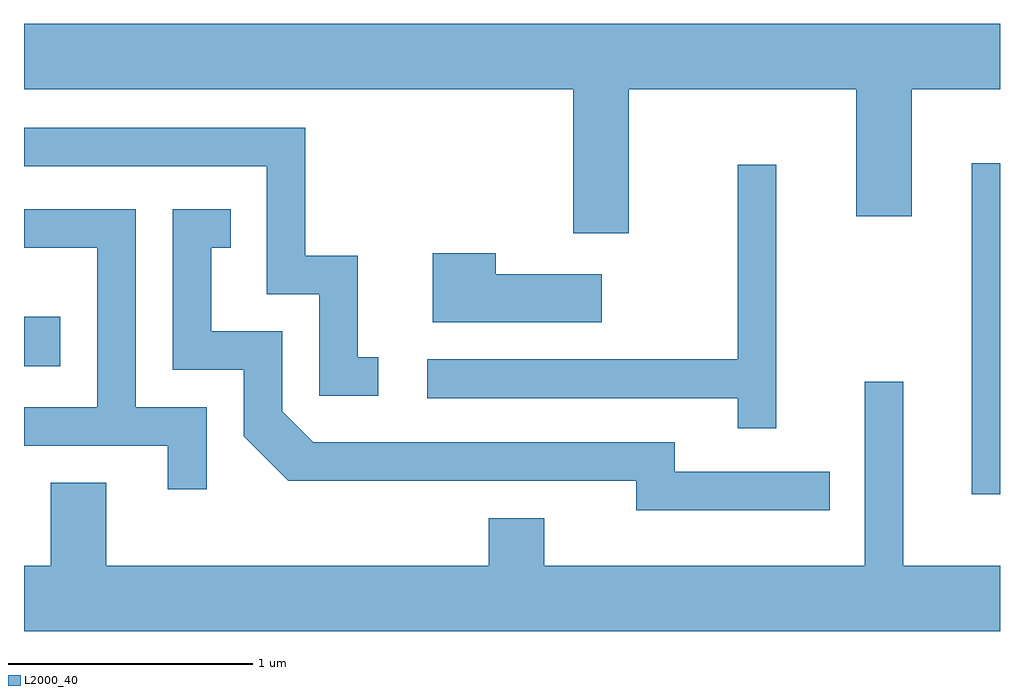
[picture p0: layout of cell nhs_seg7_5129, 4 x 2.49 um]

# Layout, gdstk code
import gdstk
lib = gdstk.Library(unit=1e-6, precision=1e-09)
def R(c, l, rs):  # rectangles x0, y0, x1, y1
    for r in rs: c.add(gdstk.rectangle(r[:2], r[2:], *l))
def P(c, l, *ps):  # polygons
    for p in ps: c.add(gdstk.Polygon(p, *l))
L2000_40 = (2000, 40)

nhs_seg7_5129 = lib.new_cell('nhs_seg7_5129')
R(nhs_seg7_5129, L2000_40, [(345.496,1759.276,345.611,1760.634), (341.611,1759.801,341.759,1760.004)])
P(nhs_seg7_5129, L2000_40, [(344.089,1760.936),(345.021,1760.936),(345.021,1760.416),(345.249,1760.416),(345.249,1760.936),(345.611,1760.936),(345.611,1761.204),(341.611,1761.204),(341.611,1760.936),(343.861,1760.936),(343.861,1760.346),(344.089,1760.346)],
  [(343.063,1759.839),(342.979,1759.839),(342.979,1760.254),(342.764,1760.254),(342.764,1760.779),(341.611,1760.779),(341.611,1760.621),(342.606,1760.621),(342.606,1760.096),(342.821,1760.096),(342.821,1759.681),(343.063,1759.681)],
  [(344.694,1760.628),(344.536,1760.628),(344.536,1759.829),(343.263,1759.829),(343.263,1759.671),(344.536,1759.671),(344.536,1759.548),(344.694,1759.548)],
  [(344.913,1759.369),(344.279,1759.369),(344.279,1759.489),(342.797,1759.489),(342.669,1759.617),(342.669,1759.944),(342.379,1759.944),(342.379,1760.286),(342.458,1760.286),(342.458,1760.444),(342.221,1760.444),(342.221,1759.786),(342.511,1759.786),(342.511,1759.514),(342.694,1759.331),(344.121,1759.331),(344.121,1759.211),(344.913,1759.211)],
  [(342.359,1759.634),(342.069,1759.634),(342.069,1760.444),(341.611,1760.444),(341.611,1760.286),(341.911,1760.286),(341.911,1759.634),(341.611,1759.634),(341.611,1759.476),(342.201,1759.476),(342.201,1759.298),(342.359,1759.298)],
  [(343.979,1760.179),(343.544,1760.179),(343.544,1760.264),(343.286,1760.264),(343.286,1759.981),(343.979,1759.981)],
  [(345.611,1758.984),(345.214,1758.984),(345.214,1759.738),(345.056,1759.738),(345.056,1758.984),(343.744,1758.984),(343.744,1759.179),(343.516,1759.179),(343.516,1758.984),(341.949,1758.984),(341.949,1759.324),(341.721,1759.324),(341.721,1758.984),(341.611,1758.984),(341.611,1758.716),(345.611,1758.716)])

lib.write_gds('nhs_seg7_5129.gds')
